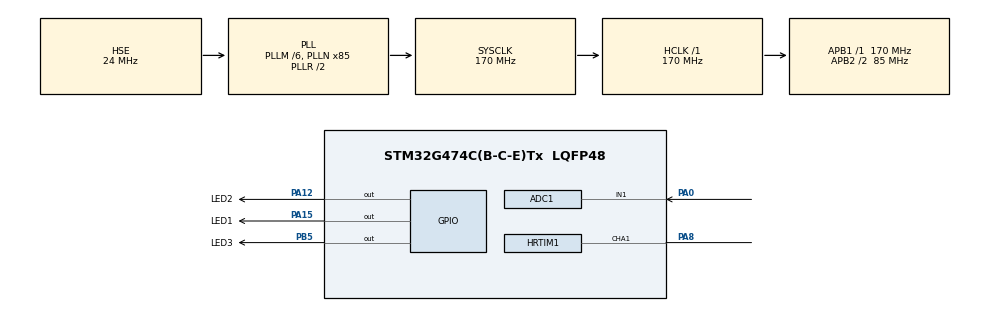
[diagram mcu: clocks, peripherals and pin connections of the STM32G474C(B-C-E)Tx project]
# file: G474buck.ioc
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ADC1.Channel-1\#ChannelRegularConversion=ADC_CHANNEL_1
ADC1.DMAContinuousRequests=ENABLE
ADC1.DataAlign=ADC_DATAALIGN_RIGHT
ADC1.EnableRegularConversion=ENABLE
ADC1.ExternalTrigConv=ADC_EXTERNALTRIG_HRTIM_TRG1
ADC1.NbrOfConversion=1
ADC1.NbrOfConversionFlag=1
ADC1.Offset-1\#ChannelRegularConversion=REF
ADC1.OffsetNumber-1\#ChannelRegularConversion=ADC_OFFSET_1
ADC1.Overrun=ADC_OVR_DATA_OVERWRITTEN
ADC1.Rank-1\#ChannelRegularConversion=1
ADC1.SamplingTime-1\#ChannelRegularConversion=ADC_SAMPLETIME_6CYCLES_5
ADC1.master=1
Dma.ADC1.0.Direction=DMA_PERIPH_TO_MEMORY
Dma.ADC1.0.EventEnable=DISABLE
Dma.ADC1.0.Instance=DMA1_Channel1
Dma.ADC1.0.MemDataAlignment=DMA_MDATAALIGN_WORD
Dma.ADC1.0.MemInc=DMA_MINC_DISABLE
Dma.ADC1.0.Mode=DMA_CIRCULAR
Dma.ADC1.0.PeriphDataAlignment=DMA_PDATAALIGN_WORD
Dma.ADC1.0.PeriphInc=DMA_PINC_DISABLE
Dma.ADC1.0.Polarity=HAL_DMAMUX_REQ_GEN_RISING
Dma.ADC1.0.Priority=DMA_PRIORITY_LOW
Dma.ADC1.0.RequestNumber=1
Dma.ADC1.0.SignalID=NONE
Dma.ADC1.0.SyncEnable=DISABLE
Dma.ADC1.0.SyncPolarity=HAL_DMAMUX_SYNC_NO_EVENT
Dma.ADC1.0.SyncRequestNumber=1
Dma.ADC1.0.SyncSignalID=NONE
Dma.Request0=ADC1
HRTIM1.ADCTrigger1_Source1=HRTIM_ADCTRIGGEREVENT13_TIMERA_CMP3
HRTIM1.ADCTrigger_Id1=HRTIM_ADCTRIGGER_1
HRTIM1.CompareUnit1-Output_TA1=HRTIM_COMPAREUNIT_1
HRTIM1.CompareUnit2-Output_TA1=HRTIM_COMPAREUNIT_2
HRTIM1.CompareUnit3-Output_TA1=HRTIM_COMPAREUNIT_3
HRTIM1.CompareValue1-Output_TA1=0
HRTIM1.CompareValue2-Output_TA1=24480
HRTIM1.CompareValue3-Output_TA1=50
HRTIM1.FaultLevel1-Output_TA1=HRTIM_OUTPUTFAULTLEVEL_INACTIVE
HRTIM1.NumberADCTriggerSource1=1
HRTIM1.NumberResetSource1-Output_TA1=2
HRTIM1.NumberSetSource1-Output_TA1=1
HRTIM1.Periode_TA=27200
HRTIM1.RepetitionCounter-Output_TA1=0x00
HRTIM1.ResetOutput1_Source1-Output_TA1=HRTIM_OUTPUTRESET_TIMCMP1
HRTIM1.ResetOutput1_Source2-Output_TA1=HRTIM_OUTPUTRESET_TIMCMP2
HRTIM1.SetOutput1_Source1-Output_TA1=HRTIM_OUTPUTSET_TIMPER
HRTIM1.UpDownMode-Output_TA1=HRTIM_TIMERUPDOWNMODE_UP
Mcu.Family=STM32G4
Mcu.Name=STM32G474C(B-C-E)Tx
Mcu.Package=LQFP48
NVIC.DMA1_Channel1_IRQn=true\:0\:0\:false\:false\:true\:false\:true
NVIC.PriorityGroup=NVIC_PRIORITYGROUP_4
NVIC.TIM6_DAC_IRQn=true\:0\:0\:false\:false\:true\:true\:true
PA0.Mode=IN1-Single-Ended
PA0.Signal=ADC1_IN1
PA12.GPIO_Label=LED2
PA12.Signal=GPIO_Output
PA13.Mode=Serial_Wire
PA13.Signal=SYS_JTMS-SWDIO
PA14.Mode=Serial_Wire
PA14.Signal=SYS_JTCK-SWCLK
PA15.GPIO_Label=LED1
PA15.Signal=GPIO_Output
PA8.Mode=Output_TA1
PA8.Signal=HRTIM1_CHA1
PB5.GPIO_Label=LED3
PB5.Signal=GPIO_Output
PF0-OSC_IN.Mode=HSE-External-Oscillator
PF0-OSC_IN.Signal=RCC_OSC_IN
PF1-OSC_OUT.Mode=HSE-External-Oscillator
PF1-OSC_OUT.Signal=RCC_OSC_OUT
ProjectManager.HeapSize=0x400
ProjectManager.StackSize=0x800
ProjectManager.TargetToolchain=MDK-ARM V5.27
RCC.ADC12Freq_Value=170000000
RCC.ADC345Freq_Value=170000000
RCC.AHBFreq_Value=170000000
RCC.APB1Freq_Value=170000000
RCC.APB1TimFreq_Value=170000000
RCC.APB2CLKDivider=RCC_HCLK_DIV2
RCC.APB2Freq_Value=85000000
RCC.APB2TimFreq_Value=170000000
RCC.CortexFreq_Value=170000000
RCC.EXTERNAL_CLOCK_VALUE=12288000
RCC.HCLKFreq_Value=170000000
RCC.HSE_VALUE=24000000
RCC.HSI48_VALUE=48000000
RCC.HSI_VALUE=16000000
RCC.LSE_VALUE=32768
RCC.PLLM=RCC_PLLM_DIV6
RCC.PLLN=85
RCC.PLLSourceVirtual=RCC_PLLSOURCE_HSE
RCC.SYSCLKFreq_VALUE=170000000
RCC.SYSCLKSource=RCC_SYSCLKSOURCE_PLLCLK
RCC.USBFreq_Value=170000000
RCC.VCOOutputFreq_Value=340000000
TIM6.PeriodNoDither=1000-1
TIM6.Prescaler=17-1
VP_SYS_VS_DBSignals.Mode=DisableDeadBatterySignals
VP_TIM6_VS_ClockSourceINT.Mode=Enable_Timer
board=custom

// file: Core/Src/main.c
/* USER CODE BEGIN Header */
/**
  ******************************************************************************
  * @file           : main.c
  * @brief          : Main program body
  ******************************************************************************
  * @attention
  *
  * <h2><center>&copy; Copyright (c) 2021 STMicroelectronics.
  * All rights reserved.</center></h2>
  *
  * This software component is licensed by ST under BSD 3-Clause license,
  * the "License"; You may not use this file except in compliance with the
  * License. You may obtain a copy of the License at:
  *                        opensource.org/licenses/BSD-3-Clause
  *
  ******************************************************************************
  */
/* USER CODE END Header */
#include "main.h"
#include "adc.h"
#include "dma.h"
#include "hrtim.h"
#include "hrtim.h"
#include "tim.h"
#include "gpio.h"

/* USER CODE BEGIN Includes */
#include "Src/MyTimer.h"
#include "Src/MyButton.h"
#include "MovingAverageLib/moving-average.h"
/* USER CODE END Includes */

/* USER CODE BEGIN PV */
uint32_t adc1_value0=0;
movingAverage_t avg_filter;
/* USER CODE END PV */

void SystemClock_Config(void);

int main(void)
{

  /* MCU Configuration--------------------------------------------------------*/

  /* Reset of all peripherals, Initializes the Flash interface and the Systick. */
  HAL_Init();

  /* Configure the system clock */
  SystemClock_Config();

  /* Initialize all configured peripherals */
  MX_GPIO_Init();
  MX_DMA_Init();
  MX_ADC1_Init();
  MX_HRTIM1_Init();
  MX_TIM6_Init();
  /* USER CODE BEGIN 2 */
	/* Perform an ADC automatic self-calibration and enable ADC */
	moving_average_create(&avg_filter, 10, 100);   /* filter size 10, sample time 100ms */
	/* wait for 1 maximum sample time */
  HAL_Delay(150);
	if (HAL_ADCEx_Calibration_Start(&hadc1, ADC_SINGLE_ENDED) != HAL_OK)
  {
    /* Configuration Error */
    Error_Handler();
  }
  /* Start the DMA which is used to move ADC result to the memory */
  if (HAL_ADC_Start_DMA(&hadc1, (uint32_t *) &adc1_value0, 1) != HAL_OK)
  {
    /* Configuration Error */
    Error_Handler();
  }

	/* Start the PWMs */
	HAL_HRTIM_WaveformCounterStart(&hhrtim1,HRTIM_TIMERID_TIMER_A);
	HAL_HRTIM_WaveformOutputStart(&hhrtim1, HRTIM_OUTPUT_TA1);
//	MyButtonInit();
//	MyTimerInit();
	HAL_TIM_Base_Start_IT(&htim6);

	hhrtim1.Instance->sTimerxRegs[0].PERxR = 27200-1;//ͨ���޸���װ��ֵPER���Ӷ��޸�PWM��Ƶ��-200k
	hhrtim1.Instance->sTimerxRegs[0].CMP1xR = 18133-1;//ͨ���޸ıȽ�ֵCMP���Ӷ��޸�ռ�ձ�

	//sTimerxRegs[0]---->TimerA
	//sTimerxRegs[1]---->TimerB
	//sTimerxRegs[2]---->TimerC
	//sTimerxRegs[3]---->TimerD
  /* USER CODE END 2 */

  /* Infinite loop */
  /* USER CODE BEGIN WHILE */
  while (1)
  {
		moving_average_filter(&avg_filter, adc1_value0);
    /* USER CODE END WHILE */

  }
}

void SystemClock_Config(void)
{
  RCC_OscInitTypeDef RCC_OscInitStruct = {0};
  RCC_ClkInitTypeDef RCC_ClkInitStruct = {0};
  RCC_PeriphCLKInitTypeDef PeriphClkInit = {0};

  /** Configure the main internal regulator output voltage
  */
  HAL_PWREx_ControlVoltageScaling(PWR_REGULATOR_VOLTAGE_SCALE1_BOOST);
  /** Initializes the RCC Oscillators according to the specified parameters
  * in the RCC_OscInitTypeDef structure.
  */
  RCC_OscInitStruct.OscillatorType = RCC_OSCILLATORTYPE_HSE;
  RCC_OscInitStruct.HSEState = RCC_HSE_ON;
  RCC_OscInitStruct.PLL.PLLState = RCC_PLL_ON;
  RCC_OscInitStruct.PLL.PLLSource = RCC_PLLSOURCE_HSE;
  RCC_OscInitStruct.PLL.PLLM = RCC_PLLM_DIV6;
  RCC_OscInitStruct.PLL.PLLN = 85;
  RCC_OscInitStruct.PLL.PLLP = RCC_PLLP_DIV2;
  RCC_OscInitStruct.PLL.PLLQ = RCC_PLLQ_DIV2;
  RCC_OscInitStruct.PLL.PLLR = RCC_PLLR_DIV2;
  if (HAL_RCC_OscConfig(&RCC_OscInitStruct) != HAL_OK)
  {
    Error_Handler();
  }
  /** Initializes the CPU, AHB and APB buses clocks
  */
  RCC_ClkInitStruct.ClockType = RCC_CLOCKTYPE_HCLK|RCC_CLOCKTYPE_SYSCLK
                              |RCC_CLOCKTYPE_PCLK1|RCC_CLOCKTYPE_PCLK2;
  RCC_ClkInitStruct.SYSCLKSource = RCC_SYSCLKSOURCE_PLLCLK;
  RCC_ClkInitStruct.AHBCLKDivider = RCC_SYSCLK_DIV1;
  RCC_ClkInitStruct.APB1CLKDivider = RCC_HCLK_DIV1;
  RCC_ClkInitStruct.APB2CLKDivider = RCC_HCLK_DIV2;

  if (HAL_RCC_ClockConfig(&RCC_ClkInitStruct, FLASH_LATENCY_4) != HAL_OK)
  {
    Error_Handler();
  }
  /** Initializes the peripherals clocks
  */
  PeriphClkInit.PeriphClockSelection = RCC_PERIPHCLK_ADC12;
  PeriphClkInit.Adc12ClockSelection = RCC_ADC12CLKSOURCE_SYSCLK;
  if (HAL_RCCEx_PeriphCLKConfig(&PeriphClkInit) != HAL_OK)
  {
    Error_Handler();
  }
}

void Error_Handler(void)
{
  __disable_irq();
  while (1)
  {
  }
}

/************************ (C) COPYRIGHT STMicroelectronics *****END OF FILE****/
